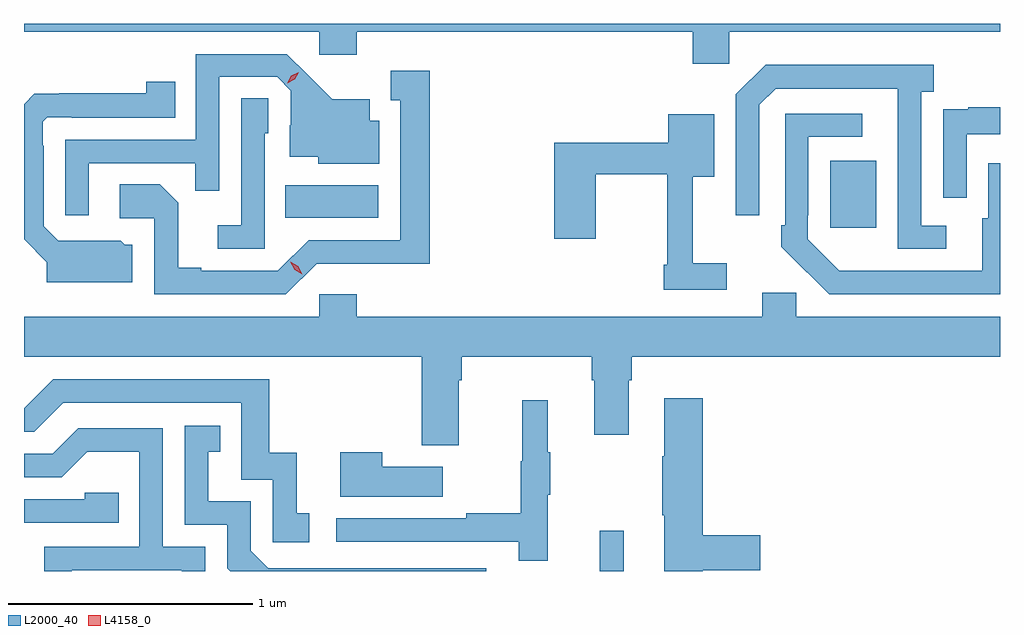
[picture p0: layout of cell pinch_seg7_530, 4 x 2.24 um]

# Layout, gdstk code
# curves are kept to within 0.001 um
import gdstk
lib = gdstk.Library(unit=1e-6, precision=1e-09)
def R(c, l, rs):  # rectangles x0, y0, x1, y1
    for r in rs: c.add(gdstk.rectangle(r[:2], r[2:], *l))
def P(c, l, *ps):  # polygons
    for p in ps: c.add(gdstk.Polygon(p, *l))
L2000_40 = (2000, 40)
L4158_0 = (4158, 0)

pinch_seg7_530 = lib.new_cell('pinch_seg7_530')
R(pinch_seg7_530, L2000_40, [(148.425,1079.658,148.522,1079.824), (149.369,1081.065,149.557,1081.339), (147.136,1081.106,147.517,1081.24)])
P(pinch_seg7_530, L2000_40, [(148.956,1081.868),(150.065,1081.868),(150.065,1081.9),(146.065,1081.9),(146.065,1081.868),(147.276,1081.868),(147.276,1081.773),(147.428,1081.773),(147.428,1081.868),(148.805,1081.868),(148.805,1081.737),(148.956,1081.737)],
  [(146.331,1081.329),(146.767,1081.329),(146.767,1081.216),(146.865,1081.216),(146.865,1081.683),(147.102,1081.683),(147.159,1081.626),(147.159,1081.484),(147.155,1081.484),(147.155,1081.355),(147.27,1081.355),(147.27,1081.328),(147.52,1081.328),(147.52,1081.504),(147.481,1081.504),(147.481,1081.591),(147.329,1081.591),(147.142,1081.776),(146.769,1081.776),(146.769,1081.425),(146.235,1081.425),(146.235,1081.116),(146.331,1081.116)],
  [(149.845,1081.074),(149.742,1081.074),(149.742,1081.622),(149.794,1081.622),(149.794,1081.732),(149.104,1081.732),(148.983,1081.611),(148.983,1081.116),(149.079,1081.116),(149.079,1081.569),(149.145,1081.635),(149.645,1081.635),(149.646,1080.978),(149.845,1080.978)],
  [(147.264,1080.918),(147.727,1080.917),(147.727,1081.708),(147.569,1081.708),(147.569,1081.587),(147.608,1081.587),(147.608,1081.014),(147.231,1081.014),(147.105,1080.888),(146.791,1080.888),(146.791,1080.901),(146.697,1080.901),(146.697,1081.168),(146.621,1081.244),(146.457,1081.244),(146.457,1081.104),(146.598,1081.104),(146.598,1080.792),(147.138,1080.792)],
  [(146.509,1080.996),(146.478,1080.996),(146.462,1081.012),(146.205,1081.011),(146.145,1081.071),(146.145,1081.4),(146.142,1081.4),(146.142,1081.5),(146.16,1081.518),(146.26,1081.518),(146.26,1081.515),(146.684,1081.515),(146.684,1081.663),(146.566,1081.663),(146.566,1081.616),(146.108,1081.615),(146.065,1081.572),(146.065,1081.018),(146.159,1080.924),(146.159,1080.842),(146.509,1080.842)],
  [(147.051,1081.452),(147.066,1081.452),(147.066,1081.595),(146.955,1081.595),(146.955,1081.075),(146.859,1081.075),(146.859,1080.978),(147.051,1080.978)],
  [(149.928,1081.449),(150.065,1081.449),(150.065,1081.558),(149.935,1081.558),(149.935,1081.551),(149.833,1081.551),(149.833,1081.442),(149.832,1081.442),(149.832,1081.188),(149.928,1081.188)],
  [(150.065,1081.33),(150.017,1081.33),(150.017,1081.104),(149.993,1081.104),(149.993,1080.888),(149.406,1080.889),(149.277,1081.017),(149.277,1081.117),(149.28,1081.117),(149.28,1081.437),(149.5,1081.437),(149.5,1081.533),(149.184,1081.533),(149.184,1081.075),(149.169,1081.075),(149.169,1080.987),(149.366,1080.792),(150.065,1080.792)],
  [(148.945,1080.919),(148.805,1080.919),(148.805,1081.274),(148.894,1081.274),(148.894,1081.531),(148.706,1081.531),(148.706,1081.414),(148.238,1081.414),(148.238,1081.02),(148.408,1081.02),(148.408,1081.285),(148.702,1081.285),(148.702,1080.913),(148.687,1080.913),(148.687,1080.81),(148.945,1080.81)],
  [(147.847,1080.44),(147.86,1080.44),(147.86,1080.536),(148.391,1080.536),(148.391,1080.44),(148.403,1080.44),(148.403,1080.216),(148.543,1080.216),(148.543,1080.44),(148.556,1080.44),(148.556,1080.536),(150.065,1080.536),(150.065,1080.7),(149.229,1080.7),(149.229,1080.798),(149.09,1080.798),(149.09,1080.7),(147.428,1080.7),(147.428,1080.793),(147.276,1080.793),(147.276,1080.7),(146.065,1080.7),(146.065,1080.536),(147.695,1080.536),(147.695,1080.174),(147.847,1080.174)],
  [(147.235,1079.895),(147.182,1079.895),(147.182,1080.142),(147.071,1080.142),(147.071,1080.444),(146.184,1080.444),(146.065,1080.325),(146.065,1080.228),(146.106,1080.228),(146.226,1080.348),(146.955,1080.348),(146.955,1080.033),(147.084,1080.033),(147.084,1079.775),(147.235,1079.775)],
  [(148.847,1079.662),(149.083,1079.662),(149.083,1079.804),(148.847,1079.804),(148.847,1080.367),(148.688,1080.367),(148.688,1080.128),(148.681,1080.128),(148.681,1079.887),(148.688,1079.887),(148.688,1079.658),(148.847,1079.658)],
  [(148.211,1079.971),(148.222,1079.971),(148.222,1080.145),(148.211,1080.145),(148.211,1080.358),(148.108,1080.358),(148.108,1080.108),(148.101,1080.108),(148.101,1079.894),(147.877,1079.894),(147.877,1079.874),(147.345,1079.874),(147.345,1079.778),(148.093,1079.778),(148.093,1079.7),(148.211,1079.7)],
  [(147.96,1079.67),(147.066,1079.67),(146.994,1079.742),(146.994,1079.943),(146.821,1079.943),(146.821,1080.147),(146.87,1080.147),(146.87,1080.253),(146.724,1080.253),(146.724,1079.847),(146.898,1079.847),(146.898,1079.67),(146.91,1079.658),(147.96,1079.658)],
  [(146.26,1079.661),(146.711,1079.661),(146.711,1079.658),(146.808,1079.658),(146.808,1079.757),(146.634,1079.757),(146.634,1080.243),(146.288,1080.243),(146.183,1080.138),(146.065,1080.138),(146.065,1080.042),(146.22,1080.042),(146.324,1080.146),(146.538,1080.146),(146.538,1079.757),(146.149,1079.757),(146.149,1079.658),(146.26,1079.658)],
  [(147.781,1080.085),(147.533,1080.085),(147.533,1080.145),(147.362,1080.145),(147.362,1079.963),(147.781,1079.963)],
  [(146.453,1079.979),(146.313,1079.979),(146.313,1079.952),(146.065,1079.952),(146.065,1079.856),(146.453,1079.856)])
P(pinch_seg7_530, L4158_0, [(147.206,1080.875),(147.174,1080.893),(147.156,1080.926),(147.156,1080.926),(147.156,1080.926),(147.188,1080.907),(147.206,1080.875),(147.206,1080.875)],
  [(147.144,1081.658),(147.144,1081.658),(147.161,1081.687),(147.192,1081.703),(147.192,1081.703),(147.192,1081.702),(147.175,1081.673),(147.144,1081.658)])

lib.write_gds('pinch_seg7_530.gds')
